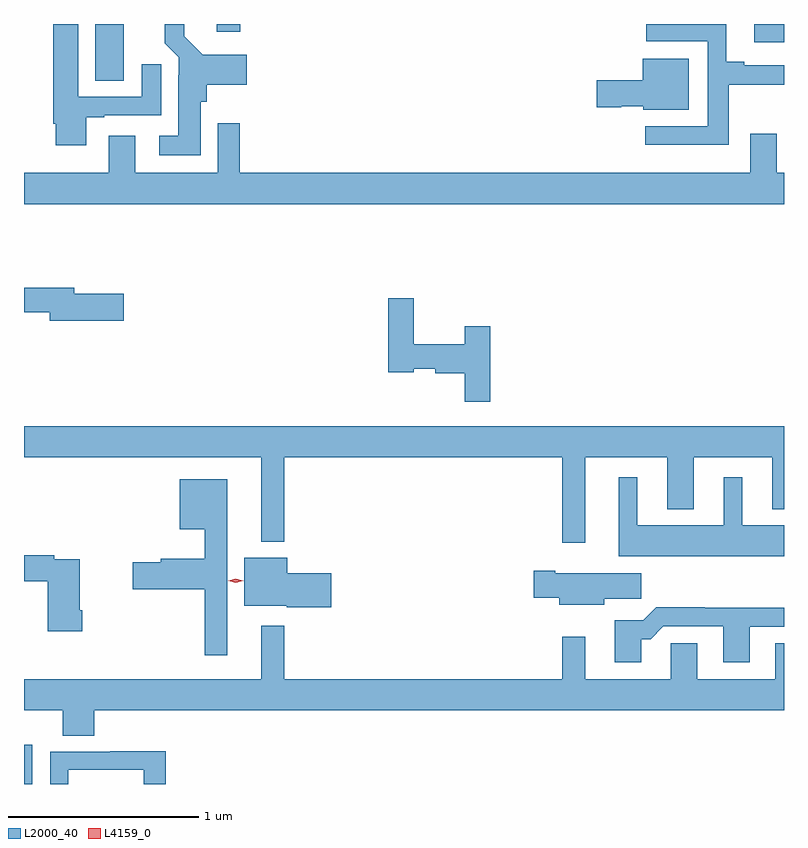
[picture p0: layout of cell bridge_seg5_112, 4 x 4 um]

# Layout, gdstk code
import gdstk
lib = gdstk.Library(unit=1e-6, precision=1e-09)
def R(c, l, rs):  # rectangles x0, y0, x1, y1
    for r in rs: c.add(gdstk.rectangle(r[:2], r[2:], *l))
def P(c, l, *ps):  # polygons
    for p in ps: c.add(gdstk.Polygon(p, *l))
L2000_40 = (2000, 40)
L4159_0 = (4159, 0)

bridge_seg5_112 = lib.new_cell('bridge_seg5_112')
R(bridge_seg5_112, L2000_40, [(482.224,883.012,482.268,883.219), (482.6,886.714,482.749,887.012), (486.068,886.917,486.224,887.012), (483.239,886.971,483.362,887.012)])
P(bridge_seg5_112, L2000_40, [(485.932,886.693),(486.224,886.693),(486.224,886.794),(486.016,886.794),(486.016,886.814),(485.92,886.814),(485.92,887.012),(485.499,887.012),(485.499,886.92),(485.823,886.92),(485.823,886.473),(485.493,886.473),(485.493,886.376),(485.932,886.376)],
  [(483.154,886.602),(483.185,886.602),(483.185,886.691),(483.397,886.691),(483.397,886.849),(483.165,886.849),(483.067,886.948),(483.067,887.012),(482.965,887.012),(482.965,886.91),(483.039,886.836),(483.039,886.742),(483.035,886.742),(483.035,886.423),(482.937,886.423),(482.937,886.322),(483.154,886.322)],
  [(482.551,886.521),(482.647,886.521),(482.647,886.533),(482.947,886.533),(482.947,886.801),(482.843,886.801),(482.843,886.629),(482.509,886.629),(482.509,887.012),(482.378,887.012),(482.378,886.486),(482.39,886.486),(482.39,886.374),(482.551,886.374)],
  [(485.722,886.828),(485.48,886.828),(485.48,886.715),(485.238,886.715),(485.238,886.573),(485.367,886.573),(485.367,886.58),(485.484,886.58),(485.484,886.562),(485.722,886.562)],
  [(486.224,886.228),(486.187,886.228),(486.187,886.435),(486.047,886.435),(486.047,886.228),(483.359,886.228),(483.359,886.489),(483.243,886.489),(483.243,886.228),(482.809,886.228),(482.809,886.423),(482.669,886.423),(482.669,886.228),(482.224,886.228),(482.224,886.064),(486.224,886.064)],
  [(482.749,885.591),(482.488,885.591),(482.488,885.625),(482.224,885.625),(482.224,885.496),(482.36,885.496),(482.36,885.449),(482.749,885.449)],
  [(484.679,885.421),(484.544,885.421),(484.544,885.326),(484.276,885.326),(484.276,885.568),(484.142,885.568),(484.142,885.179),(484.276,885.179),(484.276,885.198),(484.388,885.198),(484.388,885.173),(484.544,885.173),(484.544,885.024),(484.679,885.024)],
  [(485.179,884.732),(485.609,884.732),(485.609,884.459),(485.749,884.459),(485.749,884.732),(486.161,884.732),(486.161,884.459),(486.224,884.459),(486.224,884.896),(482.224,884.896),(482.224,884.732),(483.473,884.732),(483.473,884.288),(483.595,884.288),(483.595,884.732),(485.058,884.732),(485.058,884.283),(485.179,884.283)],
  [(486.224,884.374),(486.004,884.374),(486.004,884.626),(485.906,884.626),(485.906,884.374),(485.452,884.374),(485.452,884.626),(485.354,884.626),(485.354,884.21),(486.224,884.21)],
  [(483.295,884.617),(483.044,884.617),(483.044,884.354),(483.174,884.354),(483.174,884.197),(482.945,884.197),(482.945,884.18),(482.796,884.18),(482.796,884.038),(483.174,884.038),(483.174,883.689),(483.295,883.689)],
  [(482.531,883.927),(482.518,883.927),(482.518,884.196),(482.384,884.196),(482.384,884.216),(482.224,884.216),(482.224,884.08),(482.348,884.08),(482.348,883.815),(482.531,883.815)],
  [(483.841,884.12),(483.61,884.12),(483.61,884.203),(483.383,884.203),(483.383,883.949),(483.606,883.949),(483.606,883.942),(483.841,883.942)],
  [(485.278,883.987),(485.473,883.987),(485.473,884.122),(485.02,884.122),(485.02,884.135),(484.908,884.135),(484.908,883.993),(485.042,883.993),(485.042,883.955),(485.278,883.955)],
  [(485.473,883.775),(485.522,883.775),(485.589,883.842),(485.903,883.842),(485.903,883.653),(486.043,883.653),(486.043,883.839),(486.224,883.839),(486.224,883.94),(485.807,883.94),(485.807,883.943),(485.552,883.943),(485.482,883.873),(485.333,883.873),(485.333,883.653),(485.473,883.653)],
  [(486.224,883.754),(486.179,883.754),(486.179,883.564),(485.767,883.564),(485.767,883.754),(485.628,883.754),(485.628,883.564),(485.179,883.564),(485.179,883.786),(485.058,883.786),(485.058,883.564),(483.595,883.564),(483.595,883.846),(483.473,883.846),(483.473,883.564),(482.224,883.564),(482.224,883.4),(482.429,883.4),(482.429,883.267),(482.594,883.267),(482.594,883.4),(486.224,883.4)],
  [(482.457,883.086),(482.853,883.086),(482.853,883.012),(482.969,883.012),(482.969,883.184),(482.677,883.184),(482.677,883.182),(482.361,883.182),(482.361,883.012),(482.457,883.012)])
P(bridge_seg5_112, L4159_0, [(483.338,884.071),(483.298,884.082),(483.298,884.082),(483.298,884.082),(483.338,884.091),(483.377,884.081),(483.378,884.081),(483.377,884.081)])

lib.write_gds('bridge_seg5_112.gds')
